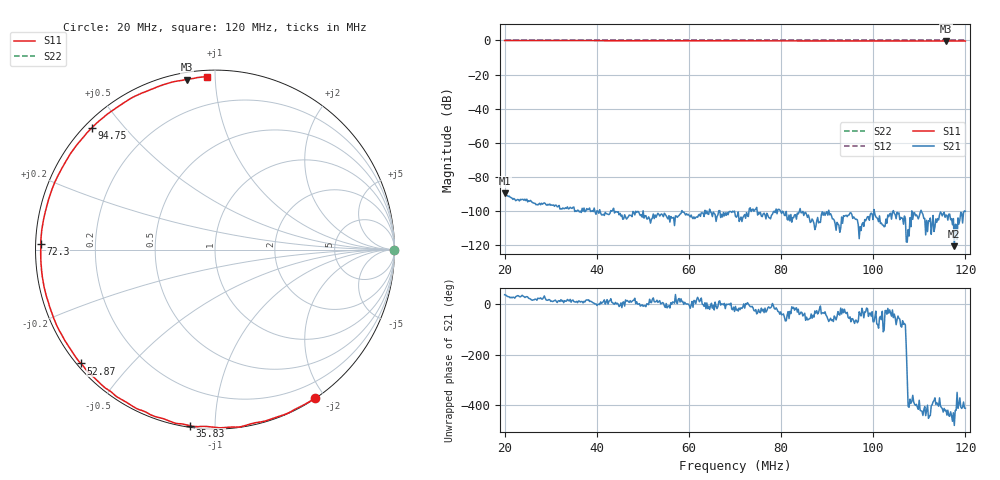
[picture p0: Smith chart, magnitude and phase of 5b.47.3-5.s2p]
! Anritsu VNA Master:  Model: MS2036C/10/77
! SN:  1601066
! /card0/usr/18may27.balun/5b.47.3.s2p
! Existing Calibration Information:
! TYPE:  Current Settings,  Active Cal Settings
! TIME:  05/27/2018 03:58:53 PM,  05/27/2018 03:52:12 PM
! INTERNAL TEMP:  52.0 C,  52.5 C
! # POINTS:  500,  500
! START FREQ:  20.000 MHz,  20.000 MHz
! STOP FREQ:  120.000 MHz,  120.000 MHz
! SOURCE POWER:  High,  High
! IFBW:  50 Hz,  50 Hz
! AVG FACTOR:  1 ,  1
! REF PLANE 1:  0 mm,  0 mm
! REF PLANE 2:  0 mm,  0 mm
! CAL TYPE:  Full S11,  Full S11
! CAL METHOD:  SOLT,  SOLT
! CAL LINE TYPE:  Coax,  Coax
! DUT PORT 1:  K-Conn(M),  K-Conn(M)
! DUT PORT 2:  K-Conn(M),  K-Conn(M)
! CAL STATUS:  OK: Accuracy High,  --
# GHZ S DB R 50.0
! FREQ.GHZ  S11DB  S11A  S21DB  S21A  S12DB  S12A  S22DB  S22A
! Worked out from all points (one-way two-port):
!   500 points, 20 MHz to 120 MHz, reference 50 ohm
!   highest |S21| = -89.50 dB at 20 MHz (marker M1); lowest = -120.5 dB at 117.6 MHz (marker M2)
!   lowest |S11| = -0.4 dB at 115.8 MHz (marker M3), VSWR 48.92, Z = 1.76 + j42.3 ohm
!   |S11| at or under -10 dB: nowhere
!   |S22| runs from 0.0 to 0.0 dB; largest |S21 - S12| = 1
!   S11 on the Smith chart (normalised r, x): 20 MHz: 0.01, -1.88; 35.83 MHz: 0.01, -0.87; 52.87 MHz: 0.01, -0.37; 72.3 MHz: 0.01, +0.02; 94.75 MHz: 0.02, +0.41; 120 MHz: 0.04, +0.95
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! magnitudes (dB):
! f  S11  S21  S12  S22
! 20 MHz  0.0  -89.5  0.0  0.0
! 23.81 MHz  0.0  -93.1  0.0  0.0
! 27.82 MHz  -0.1  -96.3  0.0  0.0
! 29.82 MHz  0.0  -95.8  0.0  0.0
! 33.63 MHz  -0.1  -97.5  0.0  0.0
! 35.83 MHz  -0.1  -99.5  0.0  0.0
! 36.83 MHz  -0.1  -98.4  0.0  0.0
! 37.64 MHz  -0.1  -99.9  0.0  0.0
! 39.44 MHz  -0.1  -98.2  0.0  0.0
! 40.64 MHz  -0.1  -99.2  0.0  0.0
! 41.84 MHz  -0.1  -100.7  0.0  0.0
! 43.05 MHz  -0.1  -99.7  0.0  0.0
! 52.87 MHz  -0.2  -103.7  0.0  0.0
! 53.47 MHz  -0.2  -101.9  0.0  0.0
! 70.1 MHz  -0.2  -103.0  0.0  0.0
! 72.3 MHz  -0.3  -104.2  0.0  0.0
! 86.73 MHz  -0.3  -104.6  0.0  0.0
! 94.75 MHz  -0.3  -102.3  0.0  0.0
! 103.4 MHz  -0.3  -103.2  0.0  0.0
! 115.8 MHz  -0.4  -102.3  0.0  0.0
! 117.6 MHz  -0.3  -120.5  0.0  0.0
! 120 MHz  -0.3  -100.1  0.0  0.0
